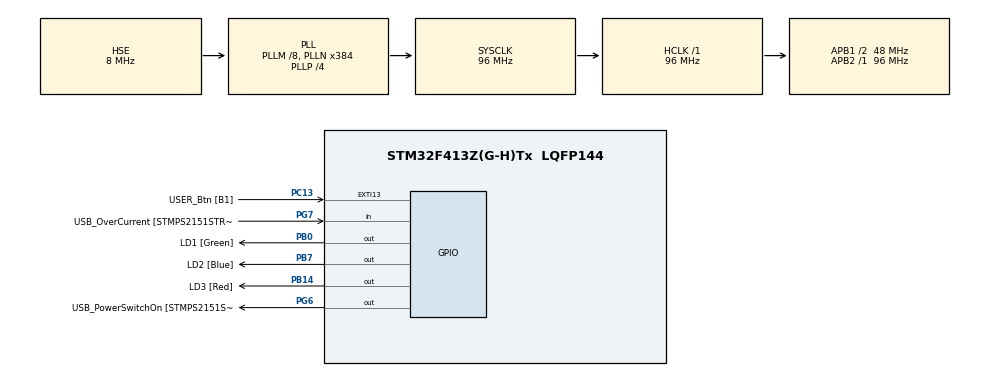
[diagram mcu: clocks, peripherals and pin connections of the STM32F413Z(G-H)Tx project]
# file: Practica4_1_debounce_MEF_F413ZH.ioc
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Mcu.Family=STM32F4
Mcu.Name=STM32F413Z(G-H)Tx
Mcu.Package=LQFP144
NVIC.PriorityGroup=NVIC_PRIORITYGROUP_4
PA10.GPIO_Label=USB_ID
PA10.Signal=USB_OTG_FS_ID
PA11.GPIO_Label=USB_DM
PA11.Signal=USB_OTG_FS_DM
PA12.GPIO_Label=USB_DP
PA12.Signal=USB_OTG_FS_DP
PA13.GPIO_Label=TMS
PA13.Mode=Serial_Wire
PA13.Signal=SYS_JTMS-SWDIO
PA14.GPIO_Label=TCK
PA14.Mode=Serial_Wire
PA14.Signal=SYS_JTCK-SWCLK
PA8.GPIO_Label=USB_SOF [TP1]
PA8.Signal=USB_OTG_FS_SOF
PA9.GPIO_Label=USB_VBUS
PA9.Signal=USB_OTG_FS_VBUS
PB0.GPIO_Label=LD1 [Green]
PB0.Signal=GPIO_Output
PB14.GPIO_Label=LD3 [Red]
PB14.Signal=GPIO_Output
PB3.GPIO_Label=SWO
PB3.Signal=SYS_JTDO-SWO
PB7.GPIO_Label=LD2 [Blue]
PB7.Signal=GPIO_Output
PC13.GPIO_Label=USER_Btn [B1]
PC13.Signal=GPXTI13
PC14-OSC32_IN.Mode=LSE-External-Oscillator
PC14-OSC32_IN.Signal=RCC_OSC32_IN
PC15-OSC32_OUT.Mode=LSE-External-Oscillator
PC15-OSC32_OUT.Signal=RCC_OSC32_OUT
PD8.GPIO_Label=STLK_RX [STM32F103CBT6_PA3]
PD8.Signal=USART3_TX
PD9.GPIO_Label=STLK_TX [STM32F103CBT6_PA2]
PD9.Signal=USART3_RX
PG6.GPIO_Label=USB_PowerSwitchOn [STMPS2151STR_EN]
PG6.Signal=GPIO_Output
PG7.GPIO_Label=USB_OverCurrent [STMPS2151STR_FAULT]
PG7.Signal=GPIO_Input
PH0\ -\ OSC_IN.GPIO_Label=MCO
PH0\ -\ OSC_IN.Mode=HSE-External-Clock-Source
PH0\ -\ OSC_IN.Signal=RCC_OSC_IN
PH1\ -\ OSC_OUT.Mode=HSE-External-Clock-Source
PH1\ -\ OSC_OUT.Signal=RCC_OSC_OUT
ProjectManager.HeapSize=0x200
ProjectManager.StackSize=0x400
ProjectManager.TargetToolchain=STM32CubeIDE
RCC.48MHZClocksFreq_Value=24000000
RCC.AHBFreq_Value=96000000
RCC.APB1CLKDivider=RCC_HCLK_DIV2
RCC.APB1Freq_Value=48000000
RCC.APB1TimFreq_Value=96000000
RCC.APB2Freq_Value=96000000
RCC.APB2TimFreq_Value=96000000
RCC.CortexFreq_Value=96000000
RCC.HCLKFreq_Value=96000000
RCC.HSE_VALUE=8000000
RCC.HSI_VALUE=16000000
RCC.PLLM=8
RCC.PLLMUL=RCC_PLL_MUL9
RCC.PLLN=384
RCC.PLLP=RCC_PLLP_DIV4
RCC.PLLQ=8
RCC.PLLSourceVirtual=RCC_PLLSOURCE_HSE
RCC.PRESCALERUSB=RCC_USBCLKSOURCE_PLL_DIV1_5
RCC.SYSCLKFreq_VALUE=96000000
RCC.SYSCLKSource=RCC_SYSCLKSOURCE_PLLCLK
RCC.SYSCLKSourceVirtual=RCC_SYSCLKSOURCE_PLLCLK
RCC.USBFreq_Value=48000000
RCC.VCOOutputFreq_Value=384000000
board=NUCLEO-F413ZH

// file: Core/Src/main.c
/* USER CODE BEGIN Header */
/**
  ******************************************************************************
  * @file           : main.c Practica4_1_debounce_MEF_F413ZH
  * @brief          : Main program body
  ******************************************************************************
  * @attention
  *
  * Copyright (c) 2023 STMicroelectronics.
  * All rights reserved.
  *
  * This software is licensed under terms that can be found in the LICENSE file
  * in the root directory of this software component.
  * If no LICENSE file comes with this software, it is provided AS-IS.
  *
  ******************************************************************************
  */
/* USER CODE END Header */
#include "main.h"
#include "API_delay.h"

/* USER CODE BEGIN PD */
#define DEBOUNCE_DELAY 40

/* USER CODE END PD */

/* USER CODE BEGIN PV */
debounceState_t actualState;
bool buttonRead = true;
delay_t debounceDelay;

/* USER CODE END PV */

void SystemClock_Config(void);
static void MX_GPIO_Init(void);
void debounceFSM_init(void);
void debounceFSM_update(bool_t buttonRead);
void buttonPressed(void);
void buttonReleased(void);

int main(void)
{

  /* MCU Configuration--------------------------------------------------------*/

  /* Reset of all peripherals, Initializes the Flash interface and the Systick. */
  HAL_Init();

  /* Configure the system clock */
  SystemClock_Config();

  /* Initialize all configured peripherals */
  MX_GPIO_Init();
  /* USER CODE BEGIN 2 */
  //Inicializo la MSF
  debounceFSM_init();

  /* USER CODE END 2 */

  /* Infinite loop */
  while (1)
  {
	buttonRead = HAL_GPIO_ReadPin(GPIOC, USER_Btn_Pin);
	debounceFSM_update(buttonRead);
  }
}

void SystemClock_Config(void)
{
  RCC_OscInitTypeDef RCC_OscInitStruct = {0};
  RCC_ClkInitTypeDef RCC_ClkInitStruct = {0};

  /** Configure the main internal regulator output voltage
  */
  __HAL_RCC_PWR_CLK_ENABLE();
  __HAL_PWR_VOLTAGESCALING_CONFIG(PWR_REGULATOR_VOLTAGE_SCALE1);

  /** Initializes the RCC Oscillators according to the specified parameters
  * in the RCC_OscInitTypeDef structure.
  */
  RCC_OscInitStruct.OscillatorType = RCC_OSCILLATORTYPE_HSE;
  RCC_OscInitStruct.HSEState = RCC_HSE_BYPASS;
  RCC_OscInitStruct.PLL.PLLState = RCC_PLL_ON;
  RCC_OscInitStruct.PLL.PLLSource = RCC_PLLSOURCE_HSE;
  RCC_OscInitStruct.PLL.PLLM = 8;
  RCC_OscInitStruct.PLL.PLLN = 384;
  RCC_OscInitStruct.PLL.PLLP = RCC_PLLP_DIV4;
  RCC_OscInitStruct.PLL.PLLQ = 8;
  RCC_OscInitStruct.PLL.PLLR = 2;
  if (HAL_RCC_OscConfig(&RCC_OscInitStruct) != HAL_OK)
  {
    Error_Handler();
  }

  /** Initializes the CPU, AHB and APB buses clocks
  */
  RCC_ClkInitStruct.ClockType = RCC_CLOCKTYPE_HCLK|RCC_CLOCKTYPE_SYSCLK
                              |RCC_CLOCKTYPE_PCLK1|RCC_CLOCKTYPE_PCLK2;
  RCC_ClkInitStruct.SYSCLKSource = RCC_SYSCLKSOURCE_PLLCLK;
  RCC_ClkInitStruct.AHBCLKDivider = RCC_SYSCLK_DIV1;
  RCC_ClkInitStruct.APB1CLKDivider = RCC_HCLK_DIV2;
  RCC_ClkInitStruct.APB2CLKDivider = RCC_HCLK_DIV1;

  if (HAL_RCC_ClockConfig(&RCC_ClkInitStruct, FLASH_LATENCY_3) != HAL_OK)
  {
    Error_Handler();
  }
}

static void MX_GPIO_Init(void)
{
  GPIO_InitTypeDef GPIO_InitStruct = {0};

  /* GPIO Ports Clock Enable */
  __HAL_RCC_GPIOC_CLK_ENABLE();
  __HAL_RCC_GPIOH_CLK_ENABLE();
  __HAL_RCC_GPIOB_CLK_ENABLE();
  __HAL_RCC_GPIOD_CLK_ENABLE();
  __HAL_RCC_GPIOG_CLK_ENABLE();
  __HAL_RCC_GPIOA_CLK_ENABLE();

  /*Configure GPIO pin Output Level */
  HAL_GPIO_WritePin(GPIOB, LD1_Pin|LD3_Pin|LD2_Pin, GPIO_PIN_RESET);

  /*Configure GPIO pin Output Level */
  HAL_GPIO_WritePin(USB_PowerSwitchOn_GPIO_Port, USB_PowerSwitchOn_Pin, GPIO_PIN_RESET);

  /*Configure GPIO pin : USER_Btn_Pin */
  GPIO_InitStruct.Pin = USER_Btn_Pin;
  GPIO_InitStruct.Mode = GPIO_MODE_IT_RISING;
  GPIO_InitStruct.Pull = GPIO_NOPULL;
  HAL_GPIO_Init(USER_Btn_GPIO_Port, &GPIO_InitStruct);

  /*Configure GPIO pins : LD1_Pin LD3_Pin LD2_Pin */
  GPIO_InitStruct.Pin = LD1_Pin|LD3_Pin|LD2_Pin;
  GPIO_InitStruct.Mode = GPIO_MODE_OUTPUT_PP;
  GPIO_InitStruct.Pull = GPIO_NOPULL;
  GPIO_InitStruct.Speed = GPIO_SPEED_FREQ_LOW;
  HAL_GPIO_Init(GPIOB, &GPIO_InitStruct);

  /*Configure GPIO pins : STLK_RX_Pin STLK_TX_Pin */
  GPIO_InitStruct.Pin = STLK_RX_Pin|STLK_TX_Pin;
  GPIO_InitStruct.Mode = GPIO_MODE_AF_PP;
  GPIO_InitStruct.Pull = GPIO_NOPULL;
  GPIO_InitStruct.Speed = GPIO_SPEED_FREQ_VERY_HIGH;
  GPIO_InitStruct.Alternate = GPIO_AF7_USART3;
  HAL_GPIO_Init(GPIOD, &GPIO_InitStruct);

  /*Configure GPIO pin : USB_PowerSwitchOn_Pin */
  GPIO_InitStruct.Pin = USB_PowerSwitchOn_Pin;
  GPIO_InitStruct.Mode = GPIO_MODE_OUTPUT_PP;
  GPIO_InitStruct.Pull = GPIO_NOPULL;
  GPIO_InitStruct.Speed = GPIO_SPEED_FREQ_LOW;
  HAL_GPIO_Init(USB_PowerSwitchOn_GPIO_Port, &GPIO_InitStruct);

  /*Configure GPIO pin : USB_OverCurrent_Pin */
  GPIO_InitStruct.Pin = USB_OverCurrent_Pin;
  GPIO_InitStruct.Mode = GPIO_MODE_INPUT;
  GPIO_InitStruct.Pull = GPIO_NOPULL;
  HAL_GPIO_Init(USB_OverCurrent_GPIO_Port, &GPIO_InitStruct);

  /*Configure GPIO pins : USB_SOF_Pin USB_ID_Pin USB_DM_Pin USB_DP_Pin */
  GPIO_InitStruct.Pin = USB_SOF_Pin|USB_ID_Pin|USB_DM_Pin|USB_DP_Pin;
  GPIO_InitStruct.Mode = GPIO_MODE_AF_PP;
  GPIO_InitStruct.Pull = GPIO_NOPULL;
  GPIO_InitStruct.Speed = GPIO_SPEED_FREQ_VERY_HIGH;
  GPIO_InitStruct.Alternate = GPIO_AF10_OTG_FS;
  HAL_GPIO_Init(GPIOA, &GPIO_InitStruct);

}

/* USER CODE BEGIN 4 */
void debounceFSM_init(void)		// debe cargar el estado inicial
{
	actualState = BUTTON_UP;
	delayInit(&debounceDelay, DEBOUNCE_DELAY);
	//Actualizar salida del estado inicial Leds off
	HAL_GPIO_WritePin(GPIOB, LD1_Pin|LD3_Pin|LD2_Pin, GPIO_PIN_RESET);
	buttonRead = true; //USER_Btn_Pin no activado
}

void debounceFSM_update(bool buttonRead)
{
	switch (actualState)
	{
	case BUTTON_UP: //estado inicial 0
		//Actualizar salida del estado LEDs off
		//HAL_GPIO_WritePin(GPIOB, LD1_Pin|LD3_Pin|LD2_Pin, GPIO_PIN_RESET);
		//Chequear condicion de transición
		if(buttonRead == true) //se presionó USER_Btn_Pin
		{
			actualState = BUTTON_FALLING; //pasa al estado siguiente
			delayRead(&debounceDelay);   //arranca cuenta de DEBOUNCE_DELAY
		}
	break;

	case BUTTON_FALLING:
		//Chequea si paso el tiempo de 40 ms
		if(delayRead(&debounceDelay))
		{
			//Chequear condicion de transición
			if(buttonRead == true) //se presionó USER_Btn_Pin
			{
				buttonPressed(); //Dispara funcion buttonPresed()
				actualState = BUTTON_DOWN; //pasa al estado siguiente
			}
			else
			{
				actualState = BUTTON_UP; // regresa al estado anterior
			}
		}
	break;

	case BUTTON_DOWN:
		//Chequear condicion de transición
		if(buttonRead == false) //se presionó USER_Btn_Pin
		{
			actualState = BUTTON_RISING; //pasa al estado siguiente
			delayRead(&debounceDelay);   //arranca cuenta de DEBOUNCE_DELAY
		}
	break;

	case BUTTON_RISING:
		//Chequea si paso el tiempo de 40 ms
		if(delayRead(&debounceDelay))
		{
			//Chequear condicion de transición
			if(buttonRead == false) //se USER_Btn_Pin regresó a estado inactivo
			{
				buttonReleased(); //Dispara funcion buttonRelaased()
				actualState = BUTTON_UP; //pasa al estado siguiente, el inicial
			}
			else
			{
				actualState = BUTTON_DOWN; // regresa al estado anterior
			}
		}
	break;

	default:
		Error_Handler();
	break;
	}
}

void buttonPressed(void)
{
	HAL_GPIO_TogglePin(GPIOB, LD1_Pin); //Toggle LD1
}

void buttonReleased(void)
{
	HAL_GPIO_TogglePin(GPIOB, LD3_Pin); //Toggle LD3;
}

/* USER CODE END 4 */

void Error_Handler(void)
{
  /* USER CODE BEGIN Error_Handler_Debug */
  /* User can add his own implementation to report the HAL error return state */
  __disable_irq();
  HAL_GPIO_WritePin(GPIOB, LD2_Pin , GPIO_PIN_SET); //LD2 On;
  while (1)
  {
  }
  /* USER CODE END Error_Handler_Debug */
}
